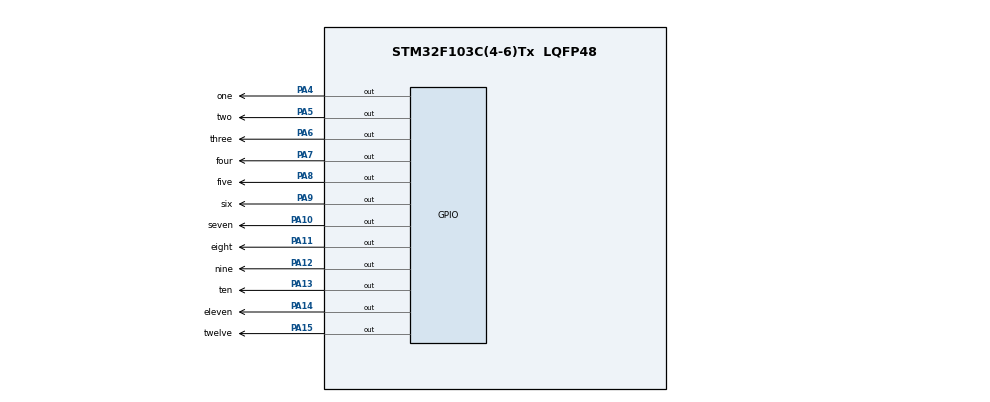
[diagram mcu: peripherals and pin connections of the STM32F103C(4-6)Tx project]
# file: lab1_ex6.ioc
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Mcu.Family=STM32F1
Mcu.Name=STM32F103C(4-6)Tx
Mcu.Package=LQFP48
NVIC.PriorityGroup=NVIC_PRIORITYGROUP_4
PA10.GPIO_Label=seven
PA10.Signal=GPIO_Output
PA11.GPIO_Label=eight
PA11.Signal=GPIO_Output
PA12.GPIO_Label=nine
PA12.Signal=GPIO_Output
PA13.GPIO_Label=ten
PA13.Signal=GPIO_Output
PA14.GPIO_Label=eleven
PA14.Signal=GPIO_Output
PA15.GPIO_Label=twelve
PA15.Signal=GPIO_Output
PA4.GPIO_Label=one
PA4.Signal=GPIO_Output
PA5.GPIO_Label=two
PA5.Signal=GPIO_Output
PA6.GPIO_Label=three
PA6.Signal=GPIO_Output
PA7.GPIO_Label=four
PA7.Signal=GPIO_Output
PA8.GPIO_Label=five
PA8.Signal=GPIO_Output
PA9.GPIO_Label=six
PA9.Signal=GPIO_Output
PD0-OSC_IN.Mode=HSE-External-Oscillator
PD0-OSC_IN.Signal=RCC_OSC_IN
PD1-OSC_OUT.Mode=HSE-External-Oscillator
PD1-OSC_OUT.Signal=RCC_OSC_OUT
ProjectManager.HeapSize=0x200
ProjectManager.StackSize=0x400
ProjectManager.TargetToolchain=STM32CubeIDE
RCC.APB1Freq_Value=8000000
RCC.APB2Freq_Value=8000000
VP_SYS_VS_ND.Mode=No_Debug
board=custom

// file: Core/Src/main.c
/* USER CODE BEGIN Header */
/**
  ******************************************************************************
  * @file           : main.c
  * @brief          : Main program body
  ******************************************************************************
  * @attention
  *
  * <h2><center>&copy; Copyright (c) 2021 STMicroelectronics.
  * All rights reserved.</center></h2>
  *
  * This software component is licensed by ST under BSD 3-Clause license,
  * the "License"; You may not use this file except in compliance with the
  * License. You may obtain a copy of the License at:
  *                        opensource.org/licenses/BSD-3-Clause
  *
  ******************************************************************************
  */
/* USER CODE END Header */
#include "main.h"

void SystemClock_Config(void);
static void MX_GPIO_Init(void);

void clearAllClock(){
	  HAL_GPIO_WritePin(GPIOA, one_Pin|two_Pin|three_Pin|four_Pin
	                          |five_Pin|six_Pin|seven_Pin|eight_Pin
	                          |nine_Pin|ten_Pin|eleven_Pin|twelve_Pin, 1);

}
void setNumberOnClock(int num){
	  switch(num){
	  case 0:
		  HAL_GPIO_WritePin(GPIOA, twelve_Pin,0);
		  break;
	  case 1:
		  HAL_GPIO_WritePin(GPIOA, one_Pin,0);
		  break;
	  case 2:
		  HAL_GPIO_WritePin(GPIOA, two_Pin,0);
		  break;
	  case 3:
		  HAL_GPIO_WritePin(GPIOA, three_Pin,0);
		  break;
	  case 4:
		  HAL_GPIO_WritePin(GPIOA, four_Pin,0);
		  break;
	  case 5:
		  HAL_GPIO_WritePin(GPIOA, five_Pin,0);
		  break;
	  case 6:
		  HAL_GPIO_WritePin(GPIOA, six_Pin,0);
		  break;
	  case 7:
		  HAL_GPIO_WritePin(GPIOA, seven_Pin,0);
		  break;
	  case 8:
		  HAL_GPIO_WritePin(GPIOA, eight_Pin,0);
		  break;
	  case 9:
		  HAL_GPIO_WritePin(GPIOA, nine_Pin,0);
		  break;
	  case 10:
		  HAL_GPIO_WritePin(GPIOA, ten_Pin,0);
		  break;
	  case 11:
		  HAL_GPIO_WritePin(GPIOA, eleven_Pin,0);
		  break;
	  }
}
void clearNumberOnClock(int num){
	  switch(num){
	  case 0:
		  HAL_GPIO_WritePin(GPIOA, twelve_Pin,1);
		  break;
	  case 1:
		  HAL_GPIO_WritePin(GPIOA, one_Pin,1);
		  break;
	  case 2:
		  HAL_GPIO_WritePin(GPIOA, two_Pin,1);
		  break;
	  case 3:
		  HAL_GPIO_WritePin(GPIOA, three_Pin,1);
		  break;
	  case 4:
		  HAL_GPIO_WritePin(GPIOA, four_Pin,1);
		  break;
	  case 5:
		  HAL_GPIO_WritePin(GPIOA, five_Pin,1);
		  break;
	  case 6:
		  HAL_GPIO_WritePin(GPIOA, six_Pin,1);
		  break;
	  case 7:
		  HAL_GPIO_WritePin(GPIOA, seven_Pin,1);
		  break;
	  case 8:
		  HAL_GPIO_WritePin(GPIOA, eight_Pin,1);
		  break;
	  case 9:
		  HAL_GPIO_WritePin(GPIOA, nine_Pin,1);
		  break;
	  case 10:
		  HAL_GPIO_WritePin(GPIOA, ten_Pin,1);
		  break;
	  case 11:
		  HAL_GPIO_WritePin(GPIOA, eleven_Pin,1);
		  break;
	  }
 }
int main(void)
{

  /* MCU Configuration--------------------------------------------------------*/

  /* Reset of all peripherals, Initializes the Flash interface and the Systick. */
  HAL_Init();

  /* Configure the system clock */
  SystemClock_Config();

  /* Initialize all configured peripherals */
  MX_GPIO_Init();

  /* Infinite loop */
  /* USER CODE BEGIN WHILE */
  clearAllClock();
  int hour = 6 ;
  int minute = 10;
  int second = 0 ;
  int mcounter = 0;
  setNumberOnClock(minute);
  setNumberOnClock(hour);
  while (1)
  {
	  setNumberOnClock(second);
	  HAL_Delay(100);
	  if(second != hour && second != minute){
	  clearNumberOnClock(second);
	  }
	  second++;
	  if(second > 11){
		  second = 0;
		  mcounter ++;
	  }
	  if(mcounter == 5){
		  mcounter = 0;
	      if(minute != hour){
		  clearNumberOnClock(minute);
	      }
		  minute ++;
		  setNumberOnClock(minute);
	  }
	  if(minute > 11){
		  minute = 0;
		  clearNumberOnClock(hour);
		  hour++;
		  setNumberOnClock(hour);
	  }
	  if(hour > 11){
		  hour =0;
	  }
    /* USER CODE END WHILE */

    /* USER CODE BEGIN 3*/
	/* for(j = 0;j<=4;j++){
	  second = 0;
	  for(i = 0;i<=11;i++){
		  setNumberOnClock(second);
		  HAL_Delay(100);
		  if(second != hour && second != minute){
		  clearNumberOnClock(second);
		  }
		  second++;
	  }
	 }
	      if(minute != hour){
		  clearNumberOnClock(minute);
	      }
		  minute++;
		  setNumberOnClock(minute);
		  if(minute > 11){
			  minute = 0;
		  }
		  if(minute == 0){
			  clearNumberOnClock(hour);
			  hour++;
			  setNumberOnClock(hour);
		  */
  }
  /* USER CODE END 3 */
}

void SystemClock_Config(void)
{
  RCC_OscInitTypeDef RCC_OscInitStruct = {0};
  RCC_ClkInitTypeDef RCC_ClkInitStruct = {0};

  /** Initializes the RCC Oscillators according to the specified parameters
  * in the RCC_OscInitTypeDef structure.
  */
  RCC_OscInitStruct.OscillatorType = RCC_OSCILLATORTYPE_HSI;
  RCC_OscInitStruct.HSIState = RCC_HSI_ON;
  RCC_OscInitStruct.HSICalibrationValue = RCC_HSICALIBRATION_DEFAULT;
  RCC_OscInitStruct.PLL.PLLState = RCC_PLL_NONE;
  if (HAL_RCC_OscConfig(&RCC_OscInitStruct) != HAL_OK)
  {
    Error_Handler();
  }
  /** Initializes the CPU, AHB and APB buses clocks
  */
  RCC_ClkInitStruct.ClockType = RCC_CLOCKTYPE_HCLK|RCC_CLOCKTYPE_SYSCLK
                              |RCC_CLOCKTYPE_PCLK1|RCC_CLOCKTYPE_PCLK2;
  RCC_ClkInitStruct.SYSCLKSource = RCC_SYSCLKSOURCE_HSI;
  RCC_ClkInitStruct.AHBCLKDivider = RCC_SYSCLK_DIV1;
  RCC_ClkInitStruct.APB1CLKDivider = RCC_HCLK_DIV1;
  RCC_ClkInitStruct.APB2CLKDivider = RCC_HCLK_DIV1;

  if (HAL_RCC_ClockConfig(&RCC_ClkInitStruct, FLASH_LATENCY_0) != HAL_OK)
  {
    Error_Handler();
  }
}

static void MX_GPIO_Init(void)
{
  GPIO_InitTypeDef GPIO_InitStruct = {0};

  /* GPIO Ports Clock Enable */
  __HAL_RCC_GPIOD_CLK_ENABLE();
  __HAL_RCC_GPIOA_CLK_ENABLE();

  /*Configure GPIO pin Output Level */
  HAL_GPIO_WritePin(GPIOA, one_Pin|two_Pin|three_Pin|four_Pin
                          |five_Pin|six_Pin|seven_Pin|eight_Pin
                          |nine_Pin|ten_Pin|eleven_Pin|twelve_Pin, GPIO_PIN_RESET);

  /*Configure GPIO pins : one_Pin two_Pin three_Pin four_Pin
                           five_Pin six_Pin seven_Pin eight_Pin
                           nine_Pin ten_Pin eleven_Pin twelve_Pin */
  GPIO_InitStruct.Pin = one_Pin|two_Pin|three_Pin|four_Pin
                          |five_Pin|six_Pin|seven_Pin|eight_Pin
                          |nine_Pin|ten_Pin|eleven_Pin|twelve_Pin;
  GPIO_InitStruct.Mode = GPIO_MODE_OUTPUT_PP;
  GPIO_InitStruct.Pull = GPIO_NOPULL;
  GPIO_InitStruct.Speed = GPIO_SPEED_FREQ_LOW;
  HAL_GPIO_Init(GPIOA, &GPIO_InitStruct);

}

void Error_Handler(void)
{
  __disable_irq();
  while (1)
  {
  }
}

/************************ (C) COPYRIGHT STMicroelectronics *****END OF FILE****/
